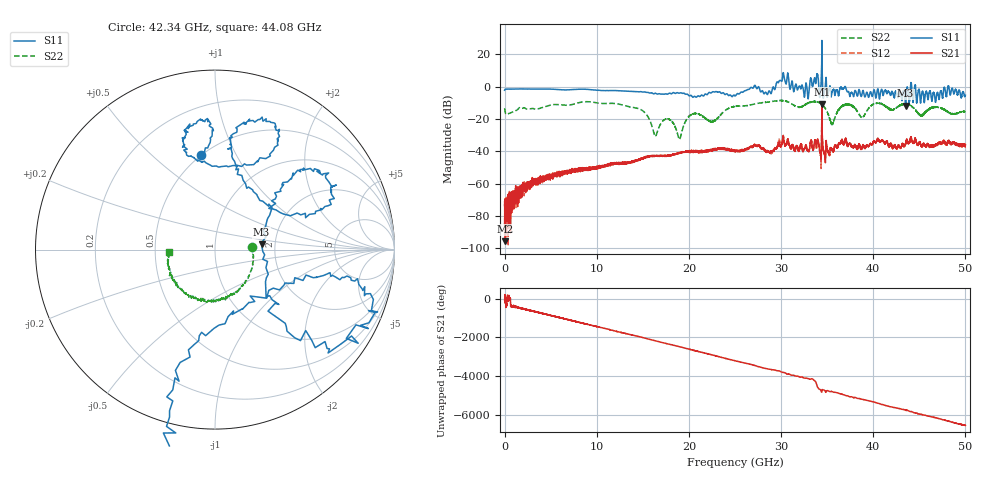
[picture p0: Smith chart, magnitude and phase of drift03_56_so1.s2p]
!Created with skrf (http://scikit-rf.org).
# Hz S RI R 50.0
!freq ReS11 ImS11 ReS21 ImS21 ReS12 ImS12 ReS22 ImS22
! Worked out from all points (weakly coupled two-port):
!   10000 points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, 5.3 MHz to 50 GHz, reference 50 ohm
!   highest |S21| = -10.79 dB at 34.43 GHz (marker M1); lowest = -95.5 dB at 85.3 MHz (marker M2)
!   lowest |S11| = -11.7 dB at 43.52 GHz (marker M3), VSWR 1.71, Z = 84.9 + j5.53 ohm
!   |S11| at or under -10 dB: 43.48841 GHz to 43.543 GHz (54.59 MHz wide, 0.125 % of centre); 45.13333 GHz to 45.13801 GHz (4.681 MHz wide, 0.0104 % of centre)
!   |S22| runs from -32.5 to -8.4 dB; largest |S21 - S12| = 0.08
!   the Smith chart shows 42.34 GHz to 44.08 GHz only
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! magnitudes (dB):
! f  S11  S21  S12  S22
! 5.3 MHz  -2.1  -73.5  -81.6  -13.3
! 85.3 MHz  -1.5  -95.5  -79.3  -16.0
! 2.39 GHz  -1.4  -63.5  -62.7  -13.7
! 8.34 GHz  -1.5  -51.1  -51.2  -9.5
! 14.57 GHz  -3.1  -45.1  -45.1  -13.6
! 16.67 GHz  -4.4  -42.8  -43.0  -26.3
! 17.79 GHz  -4.3  -42.7  -42.5  -20.0
! 19 GHz  -3.9  -40.9  -41.0  -32.3
! 20.3 GHz  -5.6  -39.4  -39.7  -17.1
! 22.56 GHz  -3.1  -39.2  -38.9  -21.4
! 25.01 GHz  -5.5  -39.5  -40.1  -12.1
! 28.72 GHz  -2.5  -40.5  -40.3  -9.4
! 30.14 GHz  4.4  -33.8  -33.9  -8.5
! 32.74 GHz  2.0  -36.6  -36.7  -10.7
! 33.34 GHz  2.6  -34.9  -35.3  -9.3
! 34.43 GHz  28.7  -10.8  -12.5  -10.9
! 35.53 GHz  -3.4  -38.6  -38.8  -23.1
! 36.98 GHz  0.1  -33.3  -32.8  -10.9
! 38.78 GHz  -4.8  -37.9  -37.9  -19.0
! 41.67 GHz  -2.9  -36.7  -36.9  -13.5
! 43.52 GHz  -11.7  -35.1  -35.3  -10.9
! 50 GHz  -5.2  -36.0  -35.6  -15.6
